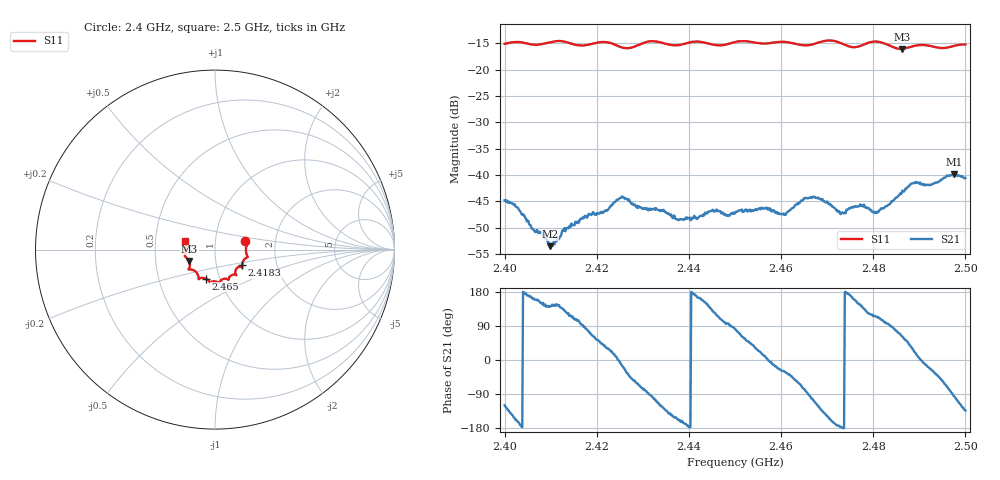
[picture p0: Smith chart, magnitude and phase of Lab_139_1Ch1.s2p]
# Hz S RI R 50
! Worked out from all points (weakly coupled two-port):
!   601 points, 2.4 GHz to 2.5 GHz, reference 50 ohm
!   highest |S21| = -39.89 dB at 2.4975 GHz (marker M1); lowest = -53.5 dB at 2.4098 GHz (marker M2)
!   lowest |S11| = -16.1 dB at 2.4862 GHz (marker M3), VSWR 1.37, Z = 37.2 - j4.84 ohm
!   |S11| at or under -10 dB: start of sweep to end of sweep
!   S12 and S22 are empty: the file has one direction only
!   S11 on the Smith chart (normalised r, x): 2.4 GHz: 1.40, +0.13; 2.4183 GHz: 1.33, -0.24; 2.465 GHz: 0.86, -0.29; 2.5 GHz: 0.71, +0.07
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2.4e9  0.1695 0.0456  -0.00284 -0.005  0 0  0 0
2.4025e9  0.1797 0.0347  -0.0046 -0.00192  0 0  0 0
2.409833e9  0.1786 -0.0335  -0.00163 0.00134  0 0  0 0
2.416667e9  0.1549 -0.0684  -0.000218 0.00383  0 0  0 0
2.418333e9  0.1498 -0.0872  0.00122 0.00411  0 0  0 0
2.425333e9  0.131 -0.0968  0.00596 -0.00129  0 0  0 0
2.433333e9  0.1175 -0.141  -0.00192 -0.00425  0 0  0 0
2.437833e9  0.0836 -0.1492  -0.00346 -0.0014  0 0  0 0
2.45e9  0.0256 -0.181  0.000641 0.00427  0 0  0 0
2.456167e9  -0.00229 -0.1768  0.00467 0.001  0 0  0 0
2.4605e9  -0.029 -0.1815  0.00377 -0.0021  0 0  0 0
2.465e9  -0.0523 -0.1619  0.00139 -0.00587  0 0  0 0
2.466667e9  -0.0712 -0.1575  -0.00128 -0.00592  0 0  0 0
2.473333e9  -0.0923 -0.1496  -0.00442 -6.05e-05  0 0  0 0
2.4775e9  -0.1277 -0.1119  -0.00403 0.00308  0 0  0 0
2.480667e9  -0.148 -0.1104  -0.00181 0.004  0 0  0 0
2.483333e9  -0.1412 -0.0964  -0.000384 0.00523  0 0  0 0
2.486167e9  -0.1439 -0.0636  0.003 0.00596  0 0  0 0
2.4885e9  -0.1603 -0.0438  0.00726 0.00412  0 0  0 0
2.4925e9  -0.1655 -0.0242  0.00733 -0.00329  0 0  0 0
2.4975e9  -0.1647 0.032  -0.000982 -0.0101  0 0  0 0
2.5e9  -0.167 0.0465  -0.00645 -0.00681  0 0  0 0
